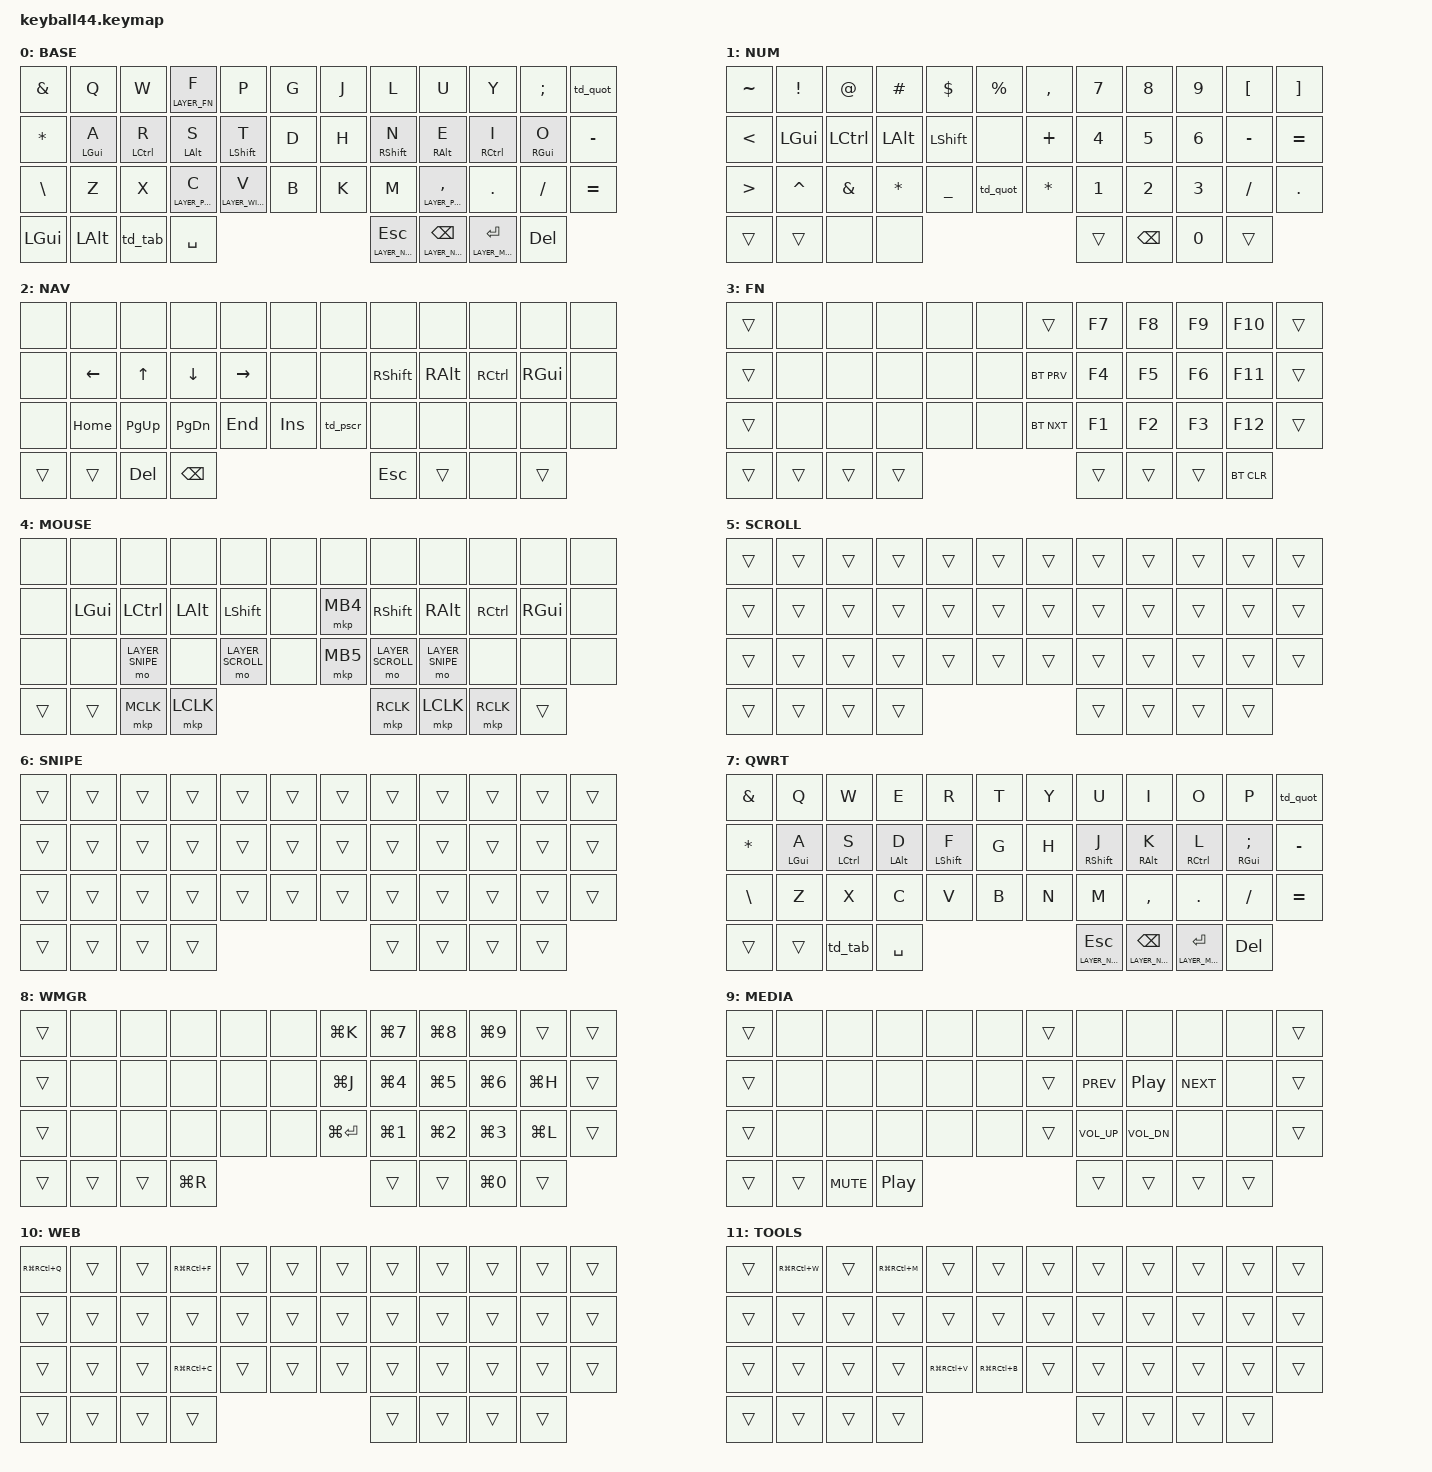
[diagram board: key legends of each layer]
/* Copyright (c) 2025 Sam Flores */

#define LAYER_BASE    0
#define LAYER_NUMBER  1
#define LAYER_NAVIG   2
#define LAYER_FN      3
#define LAYER_POINTER 4
#define LAYER_SCROLL  5
#define LAYER_SNIPE   6
#define LAYER_QWERTY  7
#define LAYER_WIN_MGR 8
#define LAYER_MEDIA   9
#define LAYER_WEB     10
#define LAYER_TOOLS   11

#include <behaviors/mouse_keys.dtsi>
#include <behaviors.dtsi>
#include <dt-bindings/zmk/bt.h>
#include <dt-bindings/zmk/keys.h>
#include <dt-bindings/zmk/mouse.h>

&lt {
    tapping-term-ms = <150>;
    flavor = "balanced";
    quick-tap-ms = <150>;
};

&mt {
    tapping-term-ms = <150>;
    flavor = "tap-preferred";
    quick-tap-ms = <150>;
};

&caps_word { continue-list = <UNDERSCORE MINUS>; };

/ {
    behaviors {
        // Tap dance for DEL (tap) / Shift+DEL (double tap)
        td_del: tap_dance_del {
            compatible = "zmk,behavior-tap-dance";
            label = "TAP_DANCE_DEL";
            #binding-cells = <0>;
            tapping-term-ms = <150>;
            bindings = <&kp DEL>, <&kp LS(DEL)>;
        };

        // Tap dance for TAB (tap) / CAPS (double tap)
        td_tab: tap_dance_tab {
            compatible = "zmk,behavior-tap-dance";
            label = "TAP_DANCE_TAB";
            #binding-cells = <0>;
            tapping-term-ms = <150>;
            bindings = <&kp TAB>, <&kp CAPS>;
        };

        // Tap dance for ' (tap) / " (double tap)
        td_quot: tap_dance_quot {
            compatible = "zmk,behavior-tap-dance";
            label = "TAP_DANCE_QUOT";
            #binding-cells = <0>;
            tapping-term-ms = <150>;
            bindings = <&kp SQT>, <&kp DQT>;
        };

        // Tap dance for / (tap) / \ (double tap)
        td_slsh: tap_dance_slsh {
            compatible = "zmk,behavior-tap-dance";
            label = "TAP_DANCE_SLSH";
            #binding-cells = <0>;
            tapping-term-ms = <150>;
            bindings = <&kp SLASH>, <&kp BSLH>;
        };

        // Tap dance for ENTER (tap) / GUI+ENTER (double tap)
        td_ent: tap_dance_ent {
            compatible = "zmk,behavior-tap-dance";
            label = "TAP_DANCE_ENT";
            #binding-cells = <0>;
            tapping-term-ms = <150>;
            bindings = <&kp ENTER>, <&kp LG(ENTER)>;
        };

        // Tap dance for PSCR (tap) / LS+PSCR (double tap)
        td_pscr: tap_dance_pscr {
            compatible = "zmk,behavior-tap-dance";
            label = "TAP_DANCE_PSCR";
            #binding-cells = <0>;
            tapping-term-ms = <200>;
            bindings = <&kp PSCRN>, <&kp LS(PSCRN)>;
        };
    };

    // Combos for quick access
    combos {
        compatible = "zmk,combos";

        // Layer switching combo - toggles between BASE and QWERTY
        combo_layout_switch {
            timeout-ms = <50>;
            key-positions = <29 30>; // B + K (Colemak) or B + N (QWERTY) - same physical keys
            bindings = <&tog LAYER_QWERTY>;
        };

        // Parentheses combos
        combo_lprn {
            timeout-ms = <50>;
            key-positions = <31 32>; // M + COMM
            bindings = <&kp LPAR>;
        };

        combo_rprn {
            timeout-ms = <50>;
            key-positions = <32 33>; // COMM + DOT
            bindings = <&kp RPAR>;
        };

        // Bracket combos
        combo_lbrc {
            timeout-ms = <50>;
            key-positions = <7 8>; // L + U
            bindings = <&kp LBKT>;
        };

        combo_rbrc {
            timeout-ms = <50>;
            key-positions = <8 9>; // U + Y
            bindings = <&kp RBKT>;
        };

        // Accent combos (Right Alt + key combinations)
        combo_acute {
            timeout-ms = <50>;
            key-positions = <20 16>; // E + T
            bindings = <&kp RA(SQT)>;
        };

        combo_grave {
            timeout-ms = <50>;
            key-positions = <20 21>; // E + I
            bindings = <&kp RA(GRAVE)>;
        };

        combo_circ {
            timeout-ms = <50>;
            key-positions = <20 28>; // E + V
            bindings = <&kp RA(N6)>;
        };

        combo_tilde {
            timeout-ms = <50>;
            key-positions = <20 19>; // E + N
            bindings = <&kp RA(LS(GRAVE))>;
        };

        combo_cedil {
            timeout-ms = <50>;
            key-positions = <20 27>; // E + C
            bindings = <&kp RA(COMMA)>;
        };

        // One-shot layer combos
        combo_web {
            timeout-ms = <50>;
            key-positions = <22 2>; // O + W
            bindings = <&sl LAYER_WEB>;
        };

        combo_tools {
            timeout-ms = <50>;
            key-positions = <22 16>; // O + T
            bindings = <&sl LAYER_TOOLS>;
        };
    };

    keymap {
        compatible = "zmk,keymap";

        // Base Layer - Colemak-DH with home row mods
        base_layer {
            label = "BASE";
            bindings = <
// ╭─────────────────────────────────────────────────────────────────────────────────────╮ ╭─────────────────────────────────────────────────────────────────────────────────╮
    &kp AMPS   &kp Q        &kp W        &lt LAYER_FN F  &kp P        &kp G                  &kp J        &kp L        &kp U        &kp Y        &kp SEMI     &td_quot
// ├─────────────────────────────────────────────────────────────────────────────────────┤ ├─────────────────────────────────────────────────────────────────────────────────┤
    &kp STAR   &mt LGUI A   &mt LCTRL R  &mt LALT S      &mt LSHFT T  &kp D                  &kp H        &mt RSHFT N  &mt RALT E   &mt RCTRL I  &mt RGUI O   &kp MINUS
// ├─────────────────────────────────────────────────────────────────────────────────────┤ ├─────────────────────────────────────────────────────────────────────────────────┤
    &kp BSLH   &kp Z        &kp X        &lt LAYER_POINTER C  &lt LAYER_WIN_MGR V  &kp B     &kp K  &kp M  &lt LAYER_POINTER COMMA  &kp DOT  &kp SLASH  &kp EQUAL
// ╰─────────────────────────────────────────────────────────────────────────────────────┤ ├─────────────────────────────────────────────────────────────────────────────────╯
    &kp LGUI   &kp LALT            &td_tab      &kp SPACE       &lt LAYER_NUMBER ESC         &lt LAYER_NAVIG BSPC  &lt LAYER_MEDIA ENTER          &kp DEL
//                                  ╰────────────────────────────────────────────────────╯ ╰──────────────────────────────────────────────────────────────────╯
            >;
        };

        // Number Layer
        number_layer {
            label = "NUM";
            bindings = <
// ╭────────────────────────────────────────────────────────────────────────────╮ ╭─────────────────────────────────────────────────────────────────────────────────╮
    &kp TILDE  &kp EXCL     &kp AT       &kp HASH     &kp DLLR     &kp PRCNT          &kp COMMA    &kp N7       &kp N8       &kp N9       &kp LBKT     &kp RBKT
// ├────────────────────────────────────────────────────────────────────────────┤ ├─────────────────────────────────────────────────────────────────────────────────┤
    &kp LT     &kp LGUI     &kp LCTRL    &kp LALT     &kp LSHFT    &none              &kp PLUS     &kp N4       &kp N5       &kp N6       &kp MINUS    &kp EQUAL
// ├────────────────────────────────────────────────────────────────────────────┤ ├─────────────────────────────────────────────────────────────────────────────────┤
    &kp GT     &kp CARET    &kp AMPS     &kp STAR     &kp UNDER    &td_quot           &kp STAR     &kp N1       &kp N2       &kp N3       &kp SLASH    &kp DOT
// ╰────────────────────────────────────────────────────────────────────────────┤ ├─────────────────────────────────────────────────────────────────────────────────╯
    &trans     &trans                       &none        &none        &trans          &kp BSPC     &kp N0                                 &trans
//                                       ╰──────────────────────────────────────╯ ╰──────────────────────────────────────────────────────────────╯
            >;
        };

        // Navigation Layer
        navig_layer {
            label = "NAV";
            bindings = <
// ╭────────────────────────────────────────────────────────────────────────────╮ ╭─────────────────────────────────────────────────────────────────────────────────╮
    &none      &none        &none        &none        &none        &none              &none        &none        &none        &none        &none        &none
// ├────────────────────────────────────────────────────────────────────────────┤ ├─────────────────────────────────────────────────────────────────────────────────┤
    &none      &kp LEFT     &kp UP       &kp DOWN     &kp RIGHT    &none              &none        &kp RSHFT    &kp RALT     &kp RCTRL    &kp RGUI     &none
// ├────────────────────────────────────────────────────────────────────────────┤ ├─────────────────────────────────────────────────────────────────────────────────┤
    &none      &kp HOME     &kp PG_UP    &kp PG_DN    &kp END      &kp INS            &td_pscr     &none        &none        &none        &none        &none
// ╰────────────────────────────────────────────────────────────────────────────┤ ├─────────────────────────────────────────────────────────────────────────────────╯
    &trans     &trans                      &kp DEL      &kp BSPC     &kp ESC          &trans       &none                                  &trans
//                                       ╰──────────────────────────────────────╯ ╰──────────────────────────────────────────────────────────────╯
            >;
        };

        // Function Layer - Layer 3
        fn_layer {
            label = "FN";
            bindings = <
// ╭────────────────────────────────────────────────────────────────────────────╮ ╭─────────────────────────────────────────────────────────────────────────────────╮
    &trans     &none        &none        &none        &none        &none              &trans       &kp F7       &kp F8       &kp F9       &kp F10      &trans
// ├────────────────────────────────────────────────────────────────────────────┤ ├─────────────────────────────────────────────────────────────────────────────────┤
    &trans     &none        &none        &none        &none        &none              &bt BT_PRV   &kp F4       &kp F5       &kp F6       &kp F11      &trans
// ├────────────────────────────────────────────────────────────────────────────┤ ├─────────────────────────────────────────────────────────────────────────────────┤
    &trans     &none        &none        &none        &none        &none              &bt BT_NXT   &kp F1       &kp F2       &kp F3       &kp F12      &trans
// ╰────────────────────────────────────────────────────────────────────────────┤ ├─────────────────────────────────────────────────────────────────────────────────╯
    &trans     &trans                    &trans       &trans       &trans             &trans       &trans                                 &bt BT_CLR
//                                     ╰────────────────────────────────────────╯ ╰──────────────────────────────────────────────────────────────╯
            >;
        };

        // Pointer Layer (Mouse/Trackball) - Layer 4 - TRACKBALL ACTIVATES THIS LAYER
        pointer_layer {
            label = "MOUSE";
            bindings = <
// ╭────────────────────────────────────────────────────────────────────────────╮ ╭─────────────────────────────────────────────────────────────────────────────────╮
    &none      &none        &none        &none        &none        &none              &none        &none        &none        &none        &none        &none
// ├────────────────────────────────────────────────────────────────────────────┤ ├─────────────────────────────────────────────────────────────────────────────────┤
    &none      &kp LGUI     &kp LCTRL    &kp LALT     &kp LSHFT    &none              &mkp MB4     &kp RSHFT    &kp RALT     &kp RCTRL    &kp RGUI     &none
// ├────────────────────────────────────────────────────────────────────────────┤ ├─────────────────────────────────────────────────────────────────────────────────┤
    &none      &none        &mo LAYER_SNIPE  &none    &mo LAYER_SCROLL  &none         &mkp MB5     &mo LAYER_SCROLL  &mo LAYER_SNIPE  &none  &none  &none
// ╰────────────────────────────────────────────────────────────────────────────┤ ├─────────────────────────────────────────────────────────────────────────────────╯
    &trans     &trans                    &mkp MCLK    &mkp LCLK    &mkp RCLK          &mkp LCLK    &mkp RCLK                              &trans
//                                     ╰────────────────────────────────────────╯ ╰──────────────────────────────────────────────────────────────╯
            >;
        };

        // Scroll Layer - Layer 5
        scroll_layer {
            label = "SCROLL";
            bindings = <
// ╭────────────────────────────────────────────────────────────────────────────╮ ╭─────────────────────────────────────────────────────────────────────────────────╮
    &trans     &trans       &trans       &trans       &trans       &trans             &trans       &trans       &trans       &trans       &trans       &trans
// ├────────────────────────────────────────────────────────────────────────────┤ ├─────────────────────────────────────────────────────────────────────────────────┤
    &trans     &trans       &trans       &trans       &trans       &trans             &trans       &trans       &trans       &trans       &trans       &trans
// ├────────────────────────────────────────────────────────────────────────────┤ ├─────────────────────────────────────────────────────────────────────────────────┤
    &trans     &trans       &trans       &trans       &trans       &trans             &trans       &trans       &trans       &trans       &trans       &trans
// ╰────────────────────────────────────────────────────────────────────────────┤ ├─────────────────────────────────────────────────────────────────────────────────╯
    &trans     &trans                    &trans       &trans       &trans             &trans       &trans                                 &trans
//                                     ╰────────────────────────────────────────╯ ╰──────────────────────────────────────────────────────────────╯
            >;
        };

        // Snipe Layer - Layer 6 (Precision pointer mode)
        snipe_layer {
            label = "SNIPE";
            bindings = <
// ╭────────────────────────────────────────────────────────────────────────────╮ ╭─────────────────────────────────────────────────────────────────────────────────╮
    &trans     &trans       &trans       &trans       &trans       &trans             &trans       &trans       &trans       &trans       &trans       &trans
// ├────────────────────────────────────────────────────────────────────────────┤ ├─────────────────────────────────────────────────────────────────────────────────┤
    &trans     &trans       &trans       &trans       &trans       &trans             &trans       &trans       &trans       &trans       &trans       &trans
// ├────────────────────────────────────────────────────────────────────────────┤ ├─────────────────────────────────────────────────────────────────────────────────┤
    &trans     &trans       &trans       &trans       &trans       &trans             &trans       &trans       &trans       &trans       &trans       &trans
// ╰────────────────────────────────────────────────────────────────────────────┤ ├─────────────────────────────────────────────────────────────────────────────────╯
    &trans     &trans                    &trans       &trans       &trans             &trans       &trans                                 &trans
//                                     ╰────────────────────────────────────────╯ ╰──────────────────────────────────────────────────────────────╯
            >;
        };

        // QWERTY Layer - Layer 7
        qwerty_layer {
            label = "QWRT";
            bindings = <
// ╭────────────────────────────────────────────────────────────────────────────╮ ╭─────────────────────────────────────────────────────────────────────────────────╮
    &kp AMPS   &kp Q        &kp W        &kp E        &kp R        &kp T              &kp Y        &kp U        &kp I        &kp O        &kp P        &td_quot
// ├────────────────────────────────────────────────────────────────────────────┤ ├─────────────────────────────────────────────────────────────────────────────────┤
    &kp STAR   &mt LGUI A   &mt LCTRL S  &mt LALT D   &mt LSHFT F  &kp G              &kp H        &mt RSHFT J  &mt RALT K   &mt RCTRL L  &mt RGUI SEMI  &kp MINUS
// ├────────────────────────────────────────────────────────────────────────────┤ ├─────────────────────────────────────────────────────────────────────────────────┤
    &kp BSLH   &kp Z        &kp X        &kp C        &kp V        &kp B              &kp N        &kp M        &kp COMMA    &kp DOT      &kp SLASH    &kp EQUAL
// ╰────────────────────────────────────────────────────────────────────────────┤ ├─────────────────────────────────────────────────────────────────────────────────╯
    &trans     &trans                    &td_tab      &kp SPACE    &lt LAYER_NUMBER ESC           &lt LAYER_NAVIG BSPC  &lt LAYER_MEDIA ENTER     &kp DEL
//                                     ╰────────────────────────────────────────╯ ╰──────────────────────────────────────────────────────────────╯
            >;
        };

        // Window Manager Layer - Layer 8
        win_mgr_layer {
            label = "WMGR";
            bindings = <
// ╭────────────────────────────────────────────────────────────────────────────╮ ╭─────────────────────────────────────────────────────────────────────────────────╮
    &trans     &none        &none        &none        &none        &none              &kp LG(K)    &kp LG(N7)   &kp LG(N8)   &kp LG(N9)   &trans       &trans
// ├────────────────────────────────────────────────────────────────────────────┤ ├─────────────────────────────────────────────────────────────────────────────────┤
    &trans     &none        &none        &none        &none        &none              &kp LG(J)    &kp LG(N4)   &kp LG(N5)   &kp LG(N6)   &kp LG(H)    &trans
// ├────────────────────────────────────────────────────────────────────────────┤ ├─────────────────────────────────────────────────────────────────────────────────┤
    &trans     &none        &none        &none        &none        &none              &kp LG(ENTER) &kp LG(N1)  &kp LG(N2)   &kp LG(N3)   &kp LG(L)    &trans
// ╰────────────────────────────────────────────────────────────────────────────┤ ├─────────────────────────────────────────────────────────────────────────────────╯
    &trans     &trans                    &trans      &kp LG(R)    &trans              &trans       &kp LG(N0)                             &trans
//                                     ╰────────────────────────────────────────╯ ╰──────────────────────────────────────────────────────────────╯
            >;
        };

        // Media Layer - Layer 9
        media_layer {
            label = "MEDIA";
            bindings = <
// ╭────────────────────────────────────────────────────────────────────────────╮ ╭─────────────────────────────────────────────────────────────────────────────────╮
    &trans     &none        &none        &none        &none        &none              &trans       &none        &none        &none        &none        &trans
// ├────────────────────────────────────────────────────────────────────────────┤ ├─────────────────────────────────────────────────────────────────────────────────┤
    &trans     &none        &none        &none        &none        &none              &trans       &kp C_PREV   &kp C_PP     &kp C_NEXT   &none        &trans
// ├────────────────────────────────────────────────────────────────────────────┤ ├─────────────────────────────────────────────────────────────────────────────────┤
    &trans     &none        &none        &none        &none        &none              &trans       &kp C_VOL_UP &kp C_VOL_DN &none        &none        &trans
// ╰────────────────────────────────────────────────────────────────────────────┤ ├─────────────────────────────────────────────────────────────────────────────────╯
    &trans     &trans                    &kp C_MUTE   &kp C_PP     &trans             &trans       &trans                                 &trans
//                                     ╰────────────────────────────────────────╯ ╰──────────────────────────────────────────────────────────────╯
            >;
        };

        // Web Layer (One-shot) - Layer 10
        web_layer {
            label = "WEB";
            bindings = <
// ╭────────────────────────────────────────────────────────────────────────────╮ ╭─────────────────────────────────────────────────────────────────────────────────╮
    &kp RG(RC(Q))  &trans   &trans       &kp RG(RC(F)) &trans      &trans             &trans       &trans       &trans       &trans       &trans       &trans
// ├────────────────────────────────────────────────────────────────────────────┤ ├─────────────────────────────────────────────────────────────────────────────────┤
    &trans     &trans       &trans       &trans       &trans       &trans             &trans       &trans       &trans       &trans       &trans       &trans
// ├────────────────────────────────────────────────────────────────────────────┤ ├─────────────────────────────────────────────────────────────────────────────────┤
    &trans     &trans       &trans       &kp RG(RC(C)) &trans      &trans             &trans       &trans       &trans       &trans       &trans       &trans
// ╰────────────────────────────────────────────────────────────────────────────┤ ├─────────────────────────────────────────────────────────────────────────────────╯
    &trans     &trans                    &trans       &trans       &trans             &trans       &trans                                 &trans
//                                     ╰────────────────────────────────────────╯ ╰──────────────────────────────────────────────────────────────╯
            >;
        };

        // Tools Layer (One-shot) - Layer 11
        tools_layer {
            label = "TOOLS";
            bindings = <
// ╭────────────────────────────────────────────────────────────────────────────╮ ╭─────────────────────────────────────────────────────────────────────────────────╮
    &trans     &kp RG(RC(W)) &trans      &kp RG(RC(M)) &trans      &trans             &trans       &trans       &trans       &trans       &trans       &trans
// ├────────────────────────────────────────────────────────────────────────────┤ ├─────────────────────────────────────────────────────────────────────────────────┤
    &trans     &trans       &trans       &trans       &trans       &trans             &trans       &trans       &trans       &trans       &trans       &trans
// ├────────────────────────────────────────────────────────────────────────────┤ ├─────────────────────────────────────────────────────────────────────────────────┤
    &trans     &trans       &trans       &trans       &kp RG(RC(V)) &kp RG(RC(B))     &trans       &trans       &trans       &trans       &trans       &trans
// ╰────────────────────────────────────────────────────────────────────────────┤ ├─────────────────────────────────────────────────────────────────────────────────╯
    &trans     &trans                    &trans       &trans       &trans             &trans       &trans                                 &trans
//                                     ╰────────────────────────────────────────╯ ╰──────────────────────────────────────────────────────────────╯
            >;
        };
    };
};
